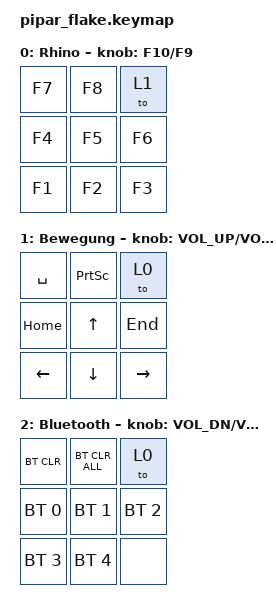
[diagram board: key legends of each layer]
/*
 * Copyright (c) 2022 The ZMK Contributors
 *
 * SPDX-License-Identifier: MIT
 */

#include <behaviors.dtsi>
#include <dt-bindings/zmk/bt.h>
#include <dt-bindings/zmk/keys.h>

#define BASE        0
#define FUNC        1

/ {
    sensors: sensors {
        compatible = "zmk,keymap-sensors";
        sensors = <&encoder_1>;
        triggers-per-rotation = <24>;
    };

    combos {
        compatible = "zmk,combos";

        bluetooth {
            bindings = <&to 2>;
            key-positions = <7 6 8>;
        };
    };

    keymap {
        compatible = "zmk,keymap";

        layer_1 {
            // --------------------------- //
            // | BT_CLR | none | ENCODER | //
            // | BT_0   | BT_1 | BT_2    | //
            // | BT_3   | BT_4 | trans   | //

            display-name = "Rhino";
            bindings = <
&kp F7  &kp F8  &to 1
&kp F4  &kp F5  &kp F6
&kp F1  &kp F2  &kp F3
            >;

            sensor-bindings = <&inc_dec_kp F10 F9>;
        };

        layer_2 {
            bindings = <
&kp SPACE       &kp PRINTSCREEN  &to 0
&kp HOME        &kp UP_ARROW     &kp END
&kp LEFT_ARROW  &kp DOWN_ARROW   &kp RIGHT_ARROW
            >;

            label = "Bewegung";
            sensor-bindings = <&inc_dec_kp C_VOLUME_UP C_VOLUME_DOWN>;
        };

        blutooth {
            display-name = "Bluetooth";
            bindings = <
&bt BT_CLR    &bt BT_CLR_ALL  &to 0
&bt BT_SEL 0  &bt BT_SEL 1    &bt BT_SEL 2
&bt BT_SEL 3  &bt BT_SEL 4    &none
            >;

            sensor-bindings = <&inc_dec_kp C_VOL_DN C_VOL_UP>;
        };
    };
};
